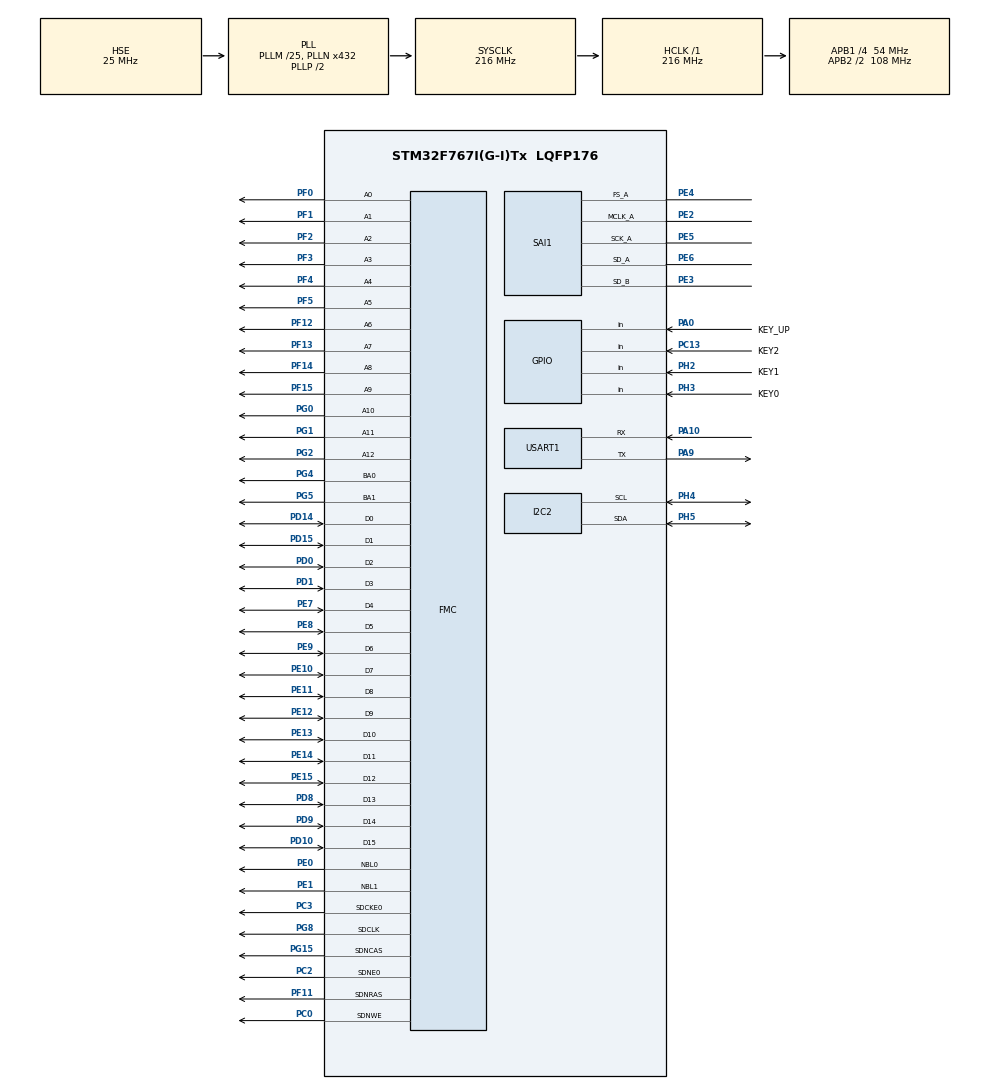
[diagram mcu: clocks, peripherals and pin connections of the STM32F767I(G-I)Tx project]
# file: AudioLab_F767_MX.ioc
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Dma.Request0=SAI1_B
Dma.Request1=SAI1_A
Dma.SAI1_A.1.Direction=DMA_MEMORY_TO_PERIPH
Dma.SAI1_A.1.FIFOMode=DMA_FIFOMODE_DISABLE
Dma.SAI1_A.1.Instance=DMA2_Stream3
Dma.SAI1_A.1.MemDataAlignment=DMA_MDATAALIGN_HALFWORD
Dma.SAI1_A.1.MemInc=DMA_MINC_ENABLE
Dma.SAI1_A.1.Mode=DMA_CIRCULAR
Dma.SAI1_A.1.PeriphDataAlignment=DMA_PDATAALIGN_HALFWORD
Dma.SAI1_A.1.PeriphInc=DMA_PINC_DISABLE
Dma.SAI1_A.1.Priority=DMA_PRIORITY_HIGH
Dma.SAI1_B.0.Direction=DMA_PERIPH_TO_MEMORY
Dma.SAI1_B.0.FIFOMode=DMA_FIFOMODE_DISABLE
Dma.SAI1_B.0.Instance=DMA2_Stream5
Dma.SAI1_B.0.MemDataAlignment=DMA_MDATAALIGN_HALFWORD
Dma.SAI1_B.0.MemInc=DMA_MINC_ENABLE
Dma.SAI1_B.0.Mode=DMA_CIRCULAR
Dma.SAI1_B.0.PeriphDataAlignment=DMA_PDATAALIGN_HALFWORD
Dma.SAI1_B.0.PeriphInc=DMA_PINC_DISABLE
Dma.SAI1_B.0.Priority=DMA_PRIORITY_HIGH
FMC.CASLatency1=FMC_SDRAM_CAS_LATENCY_2
FMC.ColumnBitsNumber1=FMC_SDRAM_COLUMN_BITS_NUM_9
FMC.ExitSelfRefreshDelay1=8
FMC.LoadToActiveDelay1=2
FMC.RCDDelay1=2
FMC.RPDelay1=2
FMC.RPDelay2=2
FMC.ReadBurst1=FMC_SDRAM_RBURST_ENABLE
FMC.ReadBurst2=FMC_SDRAM_RBURST_ENABLE
FMC.ReadPipeDelay1=FMC_SDRAM_RPIPE_DELAY_0
FMC.RowCycleDelay1=6
FMC.RowCycleDelay2=6
FMC.SDClockPeriod1=FMC_SDRAM_CLOCK_PERIOD_2
FMC.SDClockPeriod2=FMC_SDRAM_CLOCK_PERIOD_2
FMC.SelfRefreshTime1=6
FMC.WriteRecoveryTime1=4
FREERTOS.Mutexes01=playerBufMutex,Dynamic,NULL;specQueueMutex,Dynamic,NULL
FREERTOS.Queues01=audioInputMessage,3,audio_input_message_t,0,Dynamic,NULL,NULL
FREERTOS.Tasks01=defaultTask,3,128,StartDefaultTask,As weak,NULL,Dynamic,NULL,NULL;spectrogramTask,2,256,Spectrogram_Task,As weak,NULL,Dynamic,NULL,NULL;modelTask,1,256,Model_Task,As weak,NULL,Dynamic,NULL,NULL
FREERTOS.configUSE_NEWLIB_REENTRANT=0
I2C2.Timing=0x20404768
Mcu.Family=STM32F7
Mcu.Name=STM32F767I(G-I)Tx
Mcu.Package=LQFP176
NVIC.DMA2_Stream3_IRQn=true\:6\:0\:true\:false\:true\:true\:false\:true
NVIC.DMA2_Stream5_IRQn=true\:5\:0\:false\:false\:true\:true\:false\:true
NVIC.PriorityGroup=NVIC_PRIORITYGROUP_4
NVIC.TIM6_DAC_IRQn=true\:15\:0\:false\:false\:true\:false\:false\:true
NVIC.TIM7_IRQn=true\:8\:0\:true\:false\:true\:true\:true\:true
NVIC.TimeBase=TIM6_DAC_IRQn
NVIC.TimeBaseIP=TIM6
PA0/WKUP.GPIO_Label=KEY_UP
PA0/WKUP.GPIO_PuPd=GPIO_PULLDOWN
PA0/WKUP.Signal=GPIO_Input
PA10.Mode=Asynchronous
PA10.Signal=USART1_RX
PA13.Mode=Serial_Wire
PA13.Signal=SYS_JTMS-SWDIO
PA14.Mode=Serial_Wire
PA14.Signal=SYS_JTCK-SWCLK
PA9.Mode=Asynchronous
PA9.Signal=USART1_TX
PC0.Signal=FMC_SDNWE
PC13.GPIO_Label=KEY2
PC13.GPIO_PuPd=GPIO_PULLUP
PC13.Signal=GPIO_Input
PC14/OSC32_IN.Mode=LSE-External-Oscillator
PC14/OSC32_IN.Signal=RCC_OSC32_IN
PC15/OSC32_OUT.Mode=LSE-External-Oscillator
PC15/OSC32_OUT.Signal=RCC_OSC32_OUT
PC2.Mode=SdramChipSelect1_1
PC2.Signal=FMC_SDNE0
PC3.Mode=SdramChipSelect1_1
PC3.Signal=FMC_SDCKE0
PD0.Signal=FMC_D2_DA2
PD1.Signal=FMC_D3_DA3
PD10.Signal=FMC_D15_DA15
PD14.Signal=FMC_D0_DA0
PD15.Signal=FMC_D1_DA1
PD8.Signal=FMC_D13_DA13
PD9.Signal=FMC_D14_DA14
PE0.Signal=FMC_NBL0
PE1.Signal=FMC_NBL1
PE10.Signal=FMC_D7_DA7
PE11.Signal=FMC_D8_DA8
PE12.Signal=FMC_D9_DA9
PE13.Signal=FMC_D10_DA10
PE14.Signal=FMC_D11_DA11
PE15.Signal=FMC_D12_DA12
PE2.Mode=SAI_A_MasterWithClock
PE2.Signal=SAI1_MCLK_A
PE3.Mode=SAI_B_SyncSlave
PE3.Signal=SAI1_SD_B
PE4.Mode=SAI_A_MasterWithClock
PE4.Signal=SAI1_FS_A
PE5.Mode=SAI_A_MasterWithClock
PE5.Signal=SAI1_SCK_A
PE6.Mode=SAI_A_MasterWithClock
PE6.Signal=SAI1_SD_A
PE7.Signal=FMC_D4_DA4
PE8.Signal=FMC_D5_DA5
PE9.Signal=FMC_D6_DA6
PF0.Signal=FMC_A0
PF1.Signal=FMC_A1
PF11.Signal=FMC_SDNRAS
PF12.Signal=FMC_A6
PF13.Signal=FMC_A7
PF14.Signal=FMC_A8
PF15.Signal=FMC_A9
PF2.Signal=FMC_A2
PF3.Signal=FMC_A3
PF4.Signal=FMC_A4
PF5.Signal=FMC_A5
PG0.Signal=FMC_A10
PG1.Signal=FMC_A11
PG15.Signal=FMC_SDNCAS
PG2.Signal=FMC_A12
PG4.Signal=FMC_A14_BA0
PG5.Signal=FMC_A15_BA1
PG8.Signal=FMC_SDCLK
PH0/OSC_IN.Mode=HSE-External-Oscillator
PH0/OSC_IN.Signal=RCC_OSC_IN
PH1/OSC_OUT.Mode=HSE-External-Oscillator
PH1/OSC_OUT.Signal=RCC_OSC_OUT
PH2.GPIO_Label=KEY1
PH2.GPIO_PuPd=GPIO_PULLUP
PH2.Signal=GPIO_Input
PH3.GPIO_Label=KEY0
PH3.GPIO_PuPd=GPIO_PULLUP
PH3.Signal=GPIO_Input
PH4.Mode=I2C
PH4.Signal=I2C2_SCL
PH5.Mode=I2C
PH5.Signal=I2C2_SDA
ProjectManager.HeapSize=0x1000
ProjectManager.StackSize=0x400
ProjectManager.TargetToolchain=STM32CubeIDE
RCC.AHBFreq_Value=216000000
RCC.APB1CLKDivider=RCC_HCLK_DIV4
RCC.APB1Freq_Value=54000000
RCC.APB1TimFreq_Value=108000000
RCC.APB2CLKDivider=RCC_HCLK_DIV2
RCC.APB2Freq_Value=108000000
RCC.APB2TimFreq_Value=216000000
RCC.CortexFreq_Value=216000000
RCC.HCLKFreq_Value=216000000
RCC.HSE_VALUE=25000000
RCC.HSI_VALUE=16000000
RCC.PLLM=25
RCC.PLLN=432
RCC.PLLSAIN=197
RCC.PLLSAIQ=3
RCC.PLLSourceVirtual=RCC_PLLSOURCE_HSE
RCC.SYSCLKFreq_VALUE=216000000
RCC.SYSCLKSource=RCC_SYSCLKSOURCE_PLLCLK
RCC.USBFreq_Value=216000000
RCC.VCOOutputFreq_Value=432000000
SAI1.ActiveFrameLength-SAI_A_MasterWithClock=32
SAI1.ActiveFrameLength-SAI_B_SyncSlave=32
SAI1.AudioFrequency-SAI_A_MasterWithClock=SAI_AUDIO_FREQUENCY_16K
SAI1.ClockStrobing-SAI_A_MasterWithClock=SAI_CLOCKSTROBING_RISINGEDGE
SAI1.ClockStrobing-SAI_B_SyncSlave=SAI_CLOCKSTROBING_RISINGEDGE
SAI1.DataSize-SAI_A_MasterWithClock=SAI_DATASIZE_16
SAI1.DataSize-SAI_B_SyncSlave=SAI_DATASIZE_16
SAI1.ErrorAudioFreq-SAI_A_MasterWithClock=0.19 %
SAI1.FIFOThreshold-SAI_A_MasterWithClock=SAI_FIFOTHRESHOLD_1QF
SAI1.FIFOThreshold-SAI_B_SyncSlave=SAI_FIFOTHRESHOLD_1QF
SAI1.FSDefinition-SAI_A_MasterWithClock=SAI_FS_CHANNEL_IDENTIFICATION
SAI1.FSDefinition-SAI_B_SyncSlave=SAI_FS_CHANNEL_IDENTIFICATION
SAI1.FSOffset-SAI_A_MasterWithClock=SAI_FS_BEFOREFIRSTBIT
SAI1.FSOffset-SAI_B_SyncSlave=SAI_FS_BEFOREFIRSTBIT
SAI1.FrameLength-SAI_A_MasterWithClock=64
SAI1.FrameLength-SAI_B_SyncSlave=64
SAI1.Instance-SAI_A_MasterWithClock=SAI$Index_Block_A
SAI1.Instance-SAI_B_SyncSlave=SAI$Index_Block_B
SAI1.MClockEnable-SAI_A_MasterWithClock=SAI_MASTERCLOCK_ENABLE
SAI1.OutputDrive-SAI_A_MasterWithClock=SAI_OUTPUTDRIVE_ENABLE
SAI1.OutputDrive-SAI_B_SyncSlave=SAI_OUTPUTDRIVE_ENABLE
SAI1.RealAudioFreq-SAI_A_MasterWithClock=16.031 KHz
SAI1.SlotActive-SAI_A_MasterWithClock=0x00000003
SAI1.SlotActive-SAI_B_SyncSlave=0x00000003
SAI1.SlotNumber-SAI_A_MasterWithClock=2
SAI1.SlotNumber-SAI_B_SyncSlave=2
SAI1.SlotSize-SAI_A_MasterWithClock=SAI_SLOTSIZE_32B
SAI1.SlotSize-SAI_B_SyncSlave=SAI_SLOTSIZE_32B
SAI1.VirtualMode-SAI_A_MasterWithClock=VM_MASTER
SAI1.VirtualMode-SAI_B_SyncSlave=VM_SLAVE
SAI1.VirtualSlotActive-SAI_A_MasterWithClock=SAI_SLOT_USERSETTING
SAI1.VirtualSlotActive-SAI_B_SyncSlave=SAI_SLOT_USERSETTING
SAI1.VirtualSlotActive0-SAI_A_MasterWithClock=true
SAI1.VirtualSlotActive0-SAI_B_SyncSlave=true
SAI1.VirtualSlotActive1-SAI_A_MasterWithClock=true
SAI1.VirtualSlotActive1-SAI_B_SyncSlave=true
SH.FMC_A0.0=FMC_A0,13b-sda1
SH.FMC_A1.0=FMC_A1,13b-sda1
SH.FMC_A10.0=FMC_A10,13b-sda1
SH.FMC_A11.0=FMC_A11,13b-sda1
SH.FMC_A12.0=FMC_A12,13b-sda1
SH.FMC_A14_BA0.0=FMC_BA0,FourSdramBanks1
SH.FMC_A15_BA1.0=FMC_BA1,FourSdramBanks1
SH.FMC_A2.0=FMC_A2,13b-sda1
SH.FMC_A3.0=FMC_A3,13b-sda1
SH.FMC_A4.0=FMC_A4,13b-sda1
SH.FMC_A5.0=FMC_A5,13b-sda1
SH.FMC_A6.0=FMC_A6,13b-sda1
SH.FMC_A7.0=FMC_A7,13b-sda1
SH.FMC_A8.0=FMC_A8,13b-sda1
SH.FMC_A9.0=FMC_A9,13b-sda1
SH.FMC_D0_DA0.0=FMC_D0,sd-16b-d1
SH.FMC_D10_DA10.0=FMC_D10,sd-16b-d1
SH.FMC_D11_DA11.0=FMC_D11,sd-16b-d1
SH.FMC_D12_DA12.0=FMC_D12,sd-16b-d1
SH.FMC_D13_DA13.0=FMC_D13,sd-16b-d1
SH.FMC_D14_DA14.0=FMC_D14,sd-16b-d1
SH.FMC_D15_DA15.0=FMC_D15,sd-16b-d1
SH.FMC_D1_DA1.0=FMC_D1,sd-16b-d1
SH.FMC_D2_DA2.0=FMC_D2,sd-16b-d1
SH.FMC_D3_DA3.0=FMC_D3,sd-16b-d1
SH.FMC_D4_DA4.0=FMC_D4,sd-16b-d1
SH.FMC_D5_DA5.0=FMC_D5,sd-16b-d1
SH.FMC_D6_DA6.0=FMC_D6,sd-16b-d1
SH.FMC_D7_DA7.0=FMC_D7,sd-16b-d1
SH.FMC_D8_DA8.0=FMC_D8,sd-16b-d1
SH.FMC_D9_DA9.0=FMC_D9,sd-16b-d1
SH.FMC_NBL0.0=FMC_NBL0,Sd2ByteEnable1
SH.FMC_NBL1.0=FMC_NBL1,Sd2ByteEnable1
SH.FMC_SDCLK.0=FMC_SDCLK,13b-sda1
SH.FMC_SDNCAS.0=FMC_SDNCAS,13b-sda1
SH.FMC_SDNRAS.0=FMC_SDNRAS,13b-sda1
SH.FMC_SDNWE.0=FMC_SDNWE,13b-sda1
TIM7.Prescaler=10800 - 1
USART1.VirtualMode-Asynchronous=VM_ASYNC
VP_FREERTOS_VS_CMSIS_V1.Mode=CMSIS_V1
VP_SYS_VS_tim6.Mode=TIM6
VP_TIM7_VS_ClockSourceINT.Mode=Enable_Timer
board=custom

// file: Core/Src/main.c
/* USER CODE BEGIN Header */
/**
  ******************************************************************************
  * @file           : main.c
  * @brief          : Main program body
  ******************************************************************************
  * @attention
  *
  * Copyright (c) 2022 STMicroelectronics.
  * All rights reserved.
  *
  * This software is licensed under terms that can be found in the LICENSE file
  * in the root directory of this software component.
  * If no LICENSE file comes with this software, it is provided AS-IS.
  *
  ******************************************************************************
  */
/* USER CODE END Header */
#include "main.h"
#include "cmsis_os.h"
#include "dma.h"
#include "i2c.h"
#include "sai.h"
#include "tim.h"
#include "usart.h"
#include "gpio.h"
#include "fmc.h"

/* USER CODE BEGIN Includes */
#include <stdio.h>
#include <math.h>
#include <string.h>

#include "wm8978.h"
#include "audio_io.h"
#include "spectrogram.h"

/* USER CODE END Includes */

/* USER CODE BEGIN PV */

uint8_t key_status = 0;
/* USER CODE END PV */

void SystemClock_Config(void);
void PeriphCommonClock_Config(void);
void MX_FREERTOS_Init(void);

/* USER CODE BEGIN 0 */

void StartDefaultTask(void const * argument) {
	while (1) {
		uint8_t key_status_new = !HAL_GPIO_ReadPin(KEY1_GPIO_Port, KEY1_Pin);
		if(!key_status && key_status_new){

		  AudioIO_Write_Tone(440, 2, 10000);
		  printf("Tone %d Hz\n", 440);
		}
		key_status = key_status_new;
		vTaskDelay(5);
	}
}
/* USER CODE END 0 */

int main(void)
{

  /* MCU Configuration--------------------------------------------------------*/

  /* Reset of all peripherals, Initializes the Flash interface and the Systick. */
  HAL_Init();

  /* Configure the system clock */
  SystemClock_Config();

/* Configure the peripherals common clocks */
  PeriphCommonClock_Config();

  /* Initialize all configured peripherals */
  MX_GPIO_Init();
  MX_USART1_UART_Init();
  MX_I2C2_Init();
  MX_DMA_Init();
  MX_SAI1_Init();
  MX_FMC_Init();
  MX_TIM7_Init();
  /* USER CODE BEGIN 2 */

	HAL_TIM_Base_Start_IT(&htim7);

	/* Run a piece of assembly code
	printf("start to cmp\r\n");
	extern int cmp_loop(int);

	int32_t tim_cnt = htim7.Instance->CNT;	// *0.1ms

	int num = 1000;
	int ret = cmp_loop(num);

	tim_cnt = htim7.Instance->CNT - tim_cnt;
	if (tim_cnt < 0) {
		tim_cnt += 65536;
	}

	printf("stop to cmp, elapsed: %d, ret = %p\r\n", tim_cnt, ret);
	*/

	memset((void*)0xC0000000, 0, 121340);

	WM8978_Init();

	WM8978_I2S_Cfg(2,0);		//飞利浦标准,16位数据长度
	WM8978_ADDA_Cfg(1,1);		//开启ADC

	WM8978_Input_Cfg(1,1,0);	//开启输入通道(MIC&LINE IN)
	WM8978_MIC_Gain(46);		//MIC增益设置

	//WM8978_Output_Cfg(0,1);		//开启BYPASS输出
	WM8978_Output_Cfg(1,0);		//开启DAC输出
	WM8978_HPvol_Set(25, 25);	    //耳机音量设置
	WM8978_SPKvol_Set(0);		    //喇叭音量设置

	AudioIO_Init();

	Spectrogram_Init();
	// printf("Mel Filter has %d coefficients.\n", S_MelFilter.CoefficientsLength);

	printf("=== Audio Lab - Driver Init OK! ===\r\n\r\n");

  /* USER CODE END 2 */

  /* Call init function for freertos objects (in freertos.c) */
  MX_FREERTOS_Init();
  /* Start scheduler */
  osKernelStart();

  /* We should never get here as control is now taken by the scheduler */
  /* Infinite loop */
  /* USER CODE BEGIN WHILE */
  while (1)
  {
	  ;
    /* USER CODE END WHILE */

  }
}

void SystemClock_Config(void)
{
  RCC_OscInitTypeDef RCC_OscInitStruct = {0};
  RCC_ClkInitTypeDef RCC_ClkInitStruct = {0};

  /** Configure LSE Drive Capability
  */
  HAL_PWR_EnableBkUpAccess();
  /** Configure the main internal regulator output voltage
  */
  __HAL_RCC_PWR_CLK_ENABLE();
  __HAL_PWR_VOLTAGESCALING_CONFIG(PWR_REGULATOR_VOLTAGE_SCALE1);
  /** Initializes the RCC Oscillators according to the specified parameters
  * in the RCC_OscInitTypeDef structure.
  */
  RCC_OscInitStruct.OscillatorType = RCC_OSCILLATORTYPE_HSE;
  RCC_OscInitStruct.HSEState = RCC_HSE_ON;
  RCC_OscInitStruct.PLL.PLLState = RCC_PLL_ON;
  RCC_OscInitStruct.PLL.PLLSource = RCC_PLLSOURCE_HSE;
  RCC_OscInitStruct.PLL.PLLM = 25;
  RCC_OscInitStruct.PLL.PLLN = 432;
  RCC_OscInitStruct.PLL.PLLP = RCC_PLLP_DIV2;
  RCC_OscInitStruct.PLL.PLLQ = 2;
  RCC_OscInitStruct.PLL.PLLR = 2;
  if (HAL_RCC_OscConfig(&RCC_OscInitStruct) != HAL_OK)
  {
    Error_Handler();
  }
  /** Activate the Over-Drive mode
  */
  if (HAL_PWREx_EnableOverDrive() != HAL_OK)
  {
    Error_Handler();
  }
  /** Initializes the CPU, AHB and APB buses clocks
  */
  RCC_ClkInitStruct.ClockType = RCC_CLOCKTYPE_HCLK|RCC_CLOCKTYPE_SYSCLK
                              |RCC_CLOCKTYPE_PCLK1|RCC_CLOCKTYPE_PCLK2;
  RCC_ClkInitStruct.SYSCLKSource = RCC_SYSCLKSOURCE_PLLCLK;
  RCC_ClkInitStruct.AHBCLKDivider = RCC_SYSCLK_DIV1;
  RCC_ClkInitStruct.APB1CLKDivider = RCC_HCLK_DIV4;
  RCC_ClkInitStruct.APB2CLKDivider = RCC_HCLK_DIV2;

  if (HAL_RCC_ClockConfig(&RCC_ClkInitStruct, FLASH_LATENCY_7) != HAL_OK)
  {
    Error_Handler();
  }
}

void PeriphCommonClock_Config(void)
{
  RCC_PeriphCLKInitTypeDef PeriphClkInitStruct = {0};

  /** Initializes the peripherals clock
  */
  PeriphClkInitStruct.PeriphClockSelection = RCC_PERIPHCLK_SAI1;
  PeriphClkInitStruct.PLLSAI.PLLSAIN = 197;
  PeriphClkInitStruct.PLLSAI.PLLSAIR = 2;
  PeriphClkInitStruct.PLLSAI.PLLSAIQ = 3;
  PeriphClkInitStruct.PLLSAI.PLLSAIP = RCC_PLLSAIP_DIV2;
  PeriphClkInitStruct.PLLSAIDivQ = 1;
  PeriphClkInitStruct.PLLSAIDivR = RCC_PLLSAIDIVR_2;
  PeriphClkInitStruct.Sai1ClockSelection = RCC_SAI1CLKSOURCE_PLLSAI;
  if (HAL_RCCEx_PeriphCLKConfig(&PeriphClkInitStruct) != HAL_OK)
  {
    Error_Handler();
  }
}

void HAL_TIM_PeriodElapsedCallback(TIM_HandleTypeDef *htim)
{
  if (htim->Instance == TIM6) {
    HAL_IncTick();
  }
}

void Error_Handler(void)
{
  __disable_irq();
  while (1)
  {
  }
}

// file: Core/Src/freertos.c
/* USER CODE BEGIN Header */
/**
  ******************************************************************************
  * File Name          : freertos.c
  * Description        : Code for freertos applications
  ******************************************************************************
  * @attention
  *
  * Copyright (c) 2022 STMicroelectronics.
  * All rights reserved.
  *
  * This software is licensed under terms that can be found in the LICENSE file
  * in the root directory of this software component.
  * If no LICENSE file comes with this software, it is provided AS-IS.
  *
  ******************************************************************************
  */
/* USER CODE END Header */

#include "FreeRTOS.h"
#include "task.h"
#include "main.h"
#include "cmsis_os.h"

/* USER CODE BEGIN Includes */

#include "audio_io.h"

/* USER CODE END Includes */

osThreadId defaultTaskHandle;
osThreadId spectrogramTaskHandle;
osThreadId modelTaskHandle;
osMessageQId audioInputMessageHandle;
osMutexId playerBufMutexHandle;
osMutexId specQueueMutexHandle;

void StartDefaultTask(void const * argument);
void Spectrogram_Task(void const * argument);
void Model_Task(void const * argument);

void MX_FREERTOS_Init(void); /* (MISRA C 2004 rule 8.1) */

/* GetIdleTaskMemory prototype (linked to static allocation support) */
void vApplicationGetIdleTaskMemory( StaticTask_t **ppxIdleTaskTCBBuffer, StackType_t **ppxIdleTaskStackBuffer, uint32_t *pulIdleTaskStackSize );

/* USER CODE BEGIN GET_IDLE_TASK_MEMORY */
static StaticTask_t xIdleTaskTCBBuffer;
static StackType_t xIdleStack[configMINIMAL_STACK_SIZE];

void vApplicationGetIdleTaskMemory( StaticTask_t **ppxIdleTaskTCBBuffer, StackType_t **ppxIdleTaskStackBuffer, uint32_t *pulIdleTaskStackSize )
{
  *ppxIdleTaskTCBBuffer = &xIdleTaskTCBBuffer;
  *ppxIdleTaskStackBuffer = &xIdleStack[0];
  *pulIdleTaskStackSize = configMINIMAL_STACK_SIZE;
  /* place for user code */
}
/* USER CODE END GET_IDLE_TASK_MEMORY */

void MX_FREERTOS_Init(void) {
  /* Create the mutex(es) */
  /* definition and creation of playerBufMutex */
  osMutexDef(playerBufMutex);
  playerBufMutexHandle = osMutexCreate(osMutex(playerBufMutex));

  /* definition and creation of specQueueMutex */
  osMutexDef(specQueueMutex);
  specQueueMutexHandle = osMutexCreate(osMutex(specQueueMutex));

  /* Create the queue(s) */
  /* definition and creation of audioInputMessage */
  osMessageQDef(audioInputMessage, 3, audio_input_message_t);
  audioInputMessageHandle = osMessageCreate(osMessageQ(audioInputMessage), NULL);

  /* Create the thread(s) */
  /* definition and creation of defaultTask */
  osThreadDef(defaultTask, StartDefaultTask, osPriorityRealtime, 0, 128);
  defaultTaskHandle = osThreadCreate(osThread(defaultTask), NULL);

  /* definition and creation of spectrogramTask */
  osThreadDef(spectrogramTask, Spectrogram_Task, osPriorityHigh, 0, 256);
  spectrogramTaskHandle = osThreadCreate(osThread(spectrogramTask), NULL);

  /* definition and creation of modelTask */
  osThreadDef(modelTask, Model_Task, osPriorityAboveNormal, 0, 256);
  modelTaskHandle = osThreadCreate(osThread(modelTask), NULL);

}

__weak void StartDefaultTask(void const * argument)
{
  for(;;)
  {
    osDelay(1);
  }
}

__weak void Spectrogram_Task(void const * argument)
{
  for(;;)
  {
    osDelay(1);
  }
}

__weak void Model_Task(void const * argument)
{
  for(;;)
  {
    osDelay(1);
  }
}
